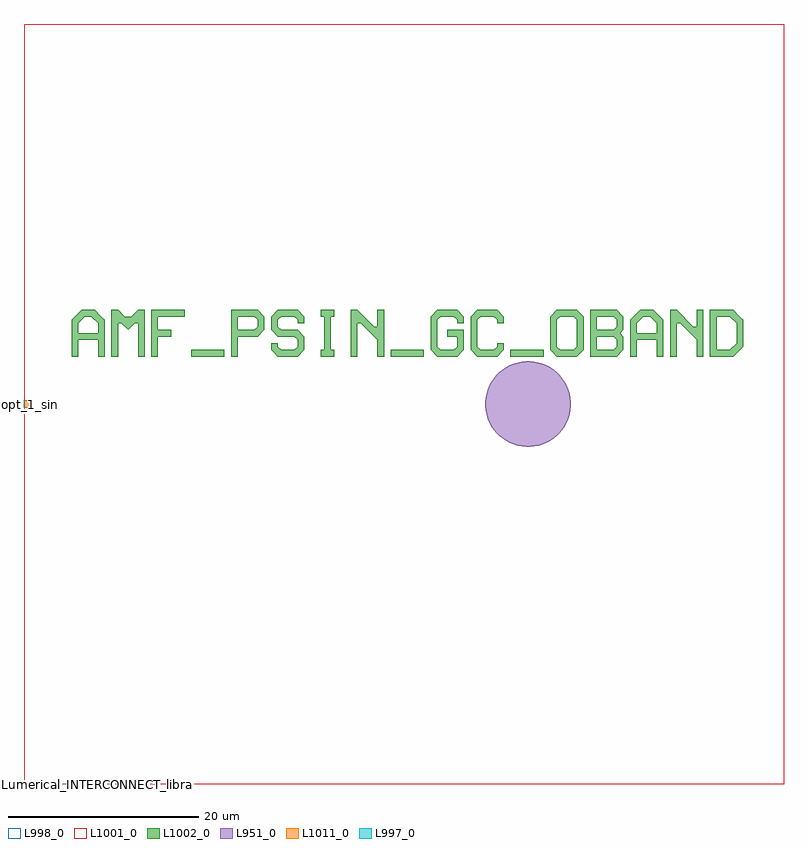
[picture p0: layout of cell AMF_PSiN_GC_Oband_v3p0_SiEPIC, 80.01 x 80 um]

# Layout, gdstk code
import gdstk
lib = gdstk.Library(unit=1e-6, precision=1e-09)
def R(c, l, rs):  # rectangles x0, y0, x1, y1
    for r in rs: c.add(gdstk.rectangle(r[:2], r[2:], *l))
def P(c, l, *ps):  # polygons
    for p in ps: c.add(gdstk.Polygon(p, *l))
L951_0 = (951, 0)
L997_0 = (997, 0)
L998_0 = (998, 0)
L1001_0 = (1001, 0)
L1002_0 = (1002, 0)
L1011_0 = (1011, 0)

amf_psin_gc_oband_v3p0 = lib.new_cell('AMF_PSiN_GC_Oband_v3p0')
R(amf_psin_gc_oband_v3p0, L1001_0, [(0,-40,80,40)])
R(amf_psin_gc_oband_v3p0, L1002_0, [(17.6,5,21.1,5.7), (38.6,5,42.1,5.7), (51.2,5,54.7,5.7)])
P(amf_psin_gc_oband_v3p0, L1002_0, [(5,5),(5,8.85),(6.05,9.9),(7.45,9.9),(8.15,9.2),(6.4,9.2),(5.7,8.5),(5.7,7.45),(7.8,7.45),(7.8,8.5),(7.1,9.2),(8.15,9.2),(8.5,8.85),(8.5,5),(7.8,5),(7.8,6.75),(5.7,6.75),(5.7,5)],
  [(9.2,5),(9.2,9.9),(9.9,9.9),(10.6,9.2),(11.3,9.2),(12,9.9),(12.7,9.9),(12.7,5),(12,5),(12,8.5),(11.65,8.5),(10.95,7.8),(10.25,8.5),(9.9,8.5),(9.9,5)],
  [(13.4,5),(13.4,9.9),(16.9,9.9),(16.9,9.2),(14.1,9.2),(14.1,7.8),(15.5,7.8),(15.5,7.1),(14.1,7.1),(14.1,5)],
  [(21.8,5),(21.8,9.9),(24.6,9.9),(25.3,9.2),(25.3,7.8),(24.6,7.1),(22.5,7.1),(22.5,7.8),(24.25,7.8),(24.6,8.15),(24.6,8.85),(24.25,9.2),(22.5,9.2),(22.5,5)],
  [(26.7,5),(26,5.7),(26,6.4),(26.7,6.4),(26.7,6.05),(27.05,5.7),(28.45,5.7),(28.8,6.05),(28.8,6.75),(28.45,7.1),(26.7,7.1),(26,7.8),(26,9.2),(26.7,9.9),(28.8,9.9),(29.5,9.2),(29.5,8.5),(28.8,8.5),(28.8,8.85),(28.45,9.2),(27.05,9.2),(26.7,8.85),(26.7,8.15),(27.05,7.8),(28.8,7.8),(29.5,7.1),(29.5,5.7),(28.8,5)],
  [(31.25,5),(31.25,5.7),(31.6,5.7),(31.6,9.2),(31.25,9.2),(31.25,9.9),(32.65,9.9),(32.65,9.2),(32.3,9.2),(32.3,5.7),(32.65,5.7),(32.65,5)],
  [(34.4,5),(34.4,9.9),(35.1,9.9),(36.85,8.15),(37.2,8.15),(37.2,9.9),(37.9,9.9),(37.9,5),(37.2,5),(37.2,6.75),(35.45,8.5),(35.1,8.5),(35.1,5)],
  [(43.5,5),(42.8,5.7),(42.8,9.2),(43.5,9.9),(45.6,9.9),(46.3,9.2),(46.3,8.5),(45.6,8.5),(45.6,8.85),(45.25,9.2),(43.85,9.2),(43.5,8.85),(43.5,6.05),(43.85,5.7),(45.25,5.7),(45.6,6.05),(45.6,7.1),(44.55,7.1),(44.55,7.8),(46.3,7.8),(46.3,5.7),(45.6,5)],
  [(47.7,5),(47,5.7),(47,9.2),(47.7,9.9),(49.8,9.9),(50.5,9.2),(50.5,8.5),(49.8,8.5),(49.8,8.85),(49.45,9.2),(48.05,9.2),(47.7,8.85),(47.7,6.05),(48.05,5.7),(49.45,5.7),(49.8,6.05),(49.8,6.4),(50.5,6.4),(50.5,5.7),(49.8,5)],
  [(56.1,5),(55.4,5.7),(55.4,9.2),(56.1,9.9),(58.2,9.9),(58.9,9.2),(58.9,7.45),(58.2,7.45),(58.2,8.85),(57.85,9.2),(56.45,9.2),(56.1,8.85),(56.1,6.05),(56.45,5.7),(57.85,5.7),(58.2,6.05),(58.2,7.45),(58.9,7.45),(58.9,5.7),(58.2,5)],
  [(59.6,5),(59.6,9.9),(62.4,9.9),(63.1,9.2),(60.3,9.2),(60.3,7.8),(62.05,7.8),(62.4,8.15),(62.4,8.85),(62.05,9.2),(63.1,9.2),(63.1,7.8),(62.75,7.45),(63.1,7.1),(60.3,7.1),(60.3,5.7),(62.05,5.7),(62.4,6.05),(62.4,6.75),(62.05,7.1),(63.1,7.1),(63.1,5.7),(62.4,5)],
  [(63.8,5),(63.8,8.85),(64.85,9.9),(66.25,9.9),(66.95,9.2),(65.2,9.2),(64.5,8.5),(64.5,7.45),(66.6,7.45),(66.6,8.5),(65.9,9.2),(66.95,9.2),(67.3,8.85),(67.3,5),(66.6,5),(66.6,6.75),(64.5,6.75),(64.5,5)],
  [(68,5),(68,9.9),(68.7,9.9),(70.45,8.15),(70.8,8.15),(70.8,9.9),(71.5,9.9),(71.5,5),(70.8,5),(70.8,6.75),(69.05,8.5),(68.7,8.5),(68.7,5)],
  [(72.2,5),(72.2,9.9),(74.65,9.9),(75.35,9.2),(72.9,9.2),(72.9,5.7),(74.3,5.7),(75,6.4),(75,8.5),(74.3,9.2),(75.35,9.2),(75.7,8.85),(75.7,6.05),(74.65,5)])
R(amf_psin_gc_oband_v3p0, L1011_0, [(0,-0.4,0.8,0.4)])
amf_psin_gc_oband_v3p0.add(gdstk.Label('opt_1_sin', (0,0), layer=1011, texttype=0))

amf_psin_gc_oband_v3p0_s = lib.new_cell('AMF_PSiN_GC_Oband_v3p0_SiEPIC')
P(amf_psin_gc_oband_v3p0_s, L951_0, [(52.839,-4.51),(52.399,-4.467),(51.965,-4.38),(51.542,-4.252),(51.134,-4.083),(50.744,-3.874),(50.376,-3.629),(50.034,-3.348),(49.722,-3.036),(49.441,-2.694),(49.196,-2.326),(48.987,-1.936),(48.818,-1.528),(48.69,-1.105),(48.603,-0.671),(48.56,-0.231),(48.56,0.211),(48.603,0.651),(48.69,1.085),(48.818,1.508),(48.987,1.916),(49.196,2.306),(49.441,2.674),(49.722,3.016),(50.034,3.328),(50.376,3.609),(50.744,3.854),(51.134,4.063),(51.542,4.232),(51.965,4.36),(52.399,4.447),(52.839,4.49),(53.281,4.49),(53.721,4.447),(54.155,4.36),(54.578,4.232),(54.986,4.063),(55.376,3.854),(55.744,3.609),(56.086,3.328),(56.398,3.016),(56.679,2.674),(56.924,2.306),(57.133,1.916),(57.302,1.508),(57.43,1.085),(57.517,0.651),(57.56,0.211),(57.56,-0.231),(57.517,-0.671),(57.43,-1.105),(57.302,-1.528),(57.133,-1.936),(56.924,-2.326),(56.679,-2.694),(56.398,-3.036),(56.086,-3.348),(55.744,-3.629),(55.376,-3.874),(54.986,-4.083),(54.578,-4.252),(54.155,-4.38),(53.721,-4.467),(53.281,-4.51)])
R(amf_psin_gc_oband_v3p0_s, L998_0, [(0,-40,80,40)])
amf_psin_gc_oband_v3p0_s.add(gdstk.FlexPath([(0.01,0),(-0.01,0)], 0.8, ends="flush", simple_path=True, layer=997, datatype=0))  # L997_0
amf_psin_gc_oband_v3p0_s.add(gdstk.Reference(amf_psin_gc_oband_v3p0, (0,0)))
amf_psin_gc_oband_v3p0_s.add(gdstk.Label('Lumerical_INTERCONNECT_library=Design kits/AMF_CML', (0,-40), layer=998, texttype=0))
amf_psin_gc_oband_v3p0_s.add(gdstk.Label('Component=AMF_PSiN_GC_Oband_v3p0', (0,-39.9), layer=998, texttype=0))
amf_psin_gc_oband_v3p0_s.add(gdstk.Label('opt_1_sin', (0,0), layer=997, texttype=0))
amf_psin_gc_oband_v3p0_s.add(gdstk.Label('opt_1_sin', (0,0), layer=997, texttype=0))

lib.write_gds('AMF_PSiN_GC_Oband_v3p0_SiEPIC.gds')
